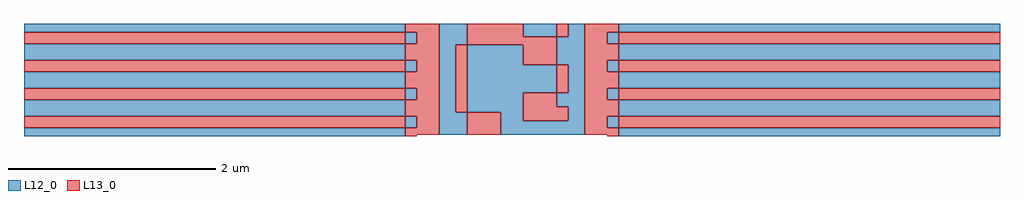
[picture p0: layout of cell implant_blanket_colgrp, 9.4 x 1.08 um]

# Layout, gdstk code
import gdstk
lib = gdstk.Library(unit=1e-6, precision=2.5e-10)
def P(c, l, *ps):  # polygons
    for p in ps: c.add(gdstk.Polygon(p, *l))
L12_0 = (12, 0)
L13_0 = (13, 0)

implant_blanket_colgrp = lib.new_cell('implant_blanket_colgrp')
P(implant_blanket_colgrp, L12_0, [(3.883,0.0135),(3.883,0.8775),(4.045,0.8775),(4.045,0.2285),(4.153,0.2285),(4.153,0.4185),(4.693,0.4185),(4.693,0.1485),(5.125,0.1485),(5.125,0.2835),(5.017,0.2835),(5.017,0.4185),(4.153,0.4185),(4.153,0.8775),(3.883,0.8775),(3.883,1.08),(4.153,1.08),(4.153,0.8775),(4.693,0.8775),(4.693,0.6885),(5.017,0.6885),(5.017,0.4185),(5.125,0.4185),(5.125,0.6885),(5.017,0.6885),(5.017,0.9585),(4.693,0.9585),(4.693,1.08),(5.017,1.08),(5.017,0.9585),(5.125,0.9585),(5.125,1.08),(5.287,1.08),(5.287,0.0135),(4.477,0.0135),(4.477,0.2285),(4.153,0.2285),(4.153,0.0135)],
  [(-0.113,0),(-0.113,0.081),(3.559,0.081),(3.559,0.189),(-0.113,0.189),(-0.113,0.351),(3.559,0.351),(3.559,0.459),(-0.113,0.459),(-0.113,0.621),(3.559,0.621),(3.559,0.729),(-0.113,0.729),(-0.113,0.891),(3.559,0.891),(3.559,0.999),(-0.113,0.999),(-0.113,1.08),(3.559,1.08),(3.559,0.999),(3.667,0.999),(3.667,0.891),(3.559,0.891),(3.559,0.729),(3.667,0.729),(3.667,0.621),(3.559,0.621),(3.559,0.459),(3.667,0.459),(3.667,0.351),(3.559,0.351),(3.559,0.189),(3.667,0.189),(3.667,0.081),(3.559,0.081),(3.559,0)],
  [(5.611,0),(5.611,0.081),(5.503,0.081),(5.503,0.189),(5.611,0.189),(5.611,0.351),(5.503,0.351),(5.503,0.459),(5.611,0.459),(5.611,0.621),(5.503,0.621),(5.503,0.729),(5.611,0.729),(5.611,0.891),(5.503,0.891),(5.503,0.999),(5.611,0.999),(5.611,1.08),(9.283,1.08),(9.283,0.999),(5.611,0.999),(5.611,0.891),(9.283,0.891),(9.283,0.729),(5.611,0.729),(5.611,0.621),(9.283,0.621),(9.283,0.459),(5.611,0.459),(5.611,0.351),(9.283,0.351),(9.283,0.189),(5.611,0.189),(5.611,0.081),(9.283,0.081),(9.283,0)])
P(implant_blanket_colgrp, L13_0, [(4.153,0.0135),(4.153,0.2285),(4.045,0.2285),(4.045,0.8775),(4.153,0.8775),(4.153,1.08),(4.693,1.08),(4.693,0.9585),(5.017,0.9585),(5.017,1.08),(5.125,1.08),(5.125,0.9585),(5.017,0.9585),(5.017,0.6885),(5.125,0.6885),(5.125,0.4185),(5.017,0.4185),(5.017,0.2835),(5.125,0.2835),(5.125,0.1485),(4.693,0.1485),(4.693,0.4185),(5.017,0.4185),(5.017,0.6885),(4.693,0.6885),(4.693,0.8775),(4.153,0.8775),(4.153,0.2285),(4.477,0.2285),(4.477,0.0135)],
  [(3.559,0),(3.559,0.081),(-0.113,0.081),(-0.113,0.189),(3.559,0.189),(3.559,0.081),(3.667,0.081),(3.667,0.189),(3.559,0.189),(3.559,0.351),(-0.113,0.351),(-0.113,0.459),(3.559,0.459),(3.559,0.351),(3.667,0.351),(3.667,0.459),(3.559,0.459),(3.559,0.621),(-0.113,0.621),(-0.113,0.729),(3.559,0.729),(3.559,0.621),(3.667,0.621),(3.667,0.729),(3.559,0.729),(3.559,0.891),(-0.113,0.891),(-0.113,0.999),(3.559,0.999),(3.559,0.891),(3.667,0.891),(3.667,0.999),(3.559,0.999),(3.559,1.08),(3.883,1.08),(3.883,0.0135),(3.667,0.0135),(3.667,0)],
  [(5.503,0),(5.503,0.0135),(5.287,0.0135),(5.287,0.189),(5.503,0.189),(5.503,0.081),(5.611,0.081),(5.611,0.189),(5.287,0.189),(5.287,0.459),(5.503,0.459),(5.503,0.351),(5.611,0.351),(5.611,0.459),(5.287,0.459),(5.287,0.729),(5.503,0.729),(5.503,0.621),(5.611,0.621),(5.611,0.729),(5.287,0.729),(5.287,0.999),(5.503,0.999),(5.503,0.891),(5.611,0.891),(5.611,0.999),(5.287,0.999),(5.287,1.08),(5.611,1.08),(5.611,0.999),(9.283,0.999),(9.283,0.891),(5.611,0.891),(5.611,0.729),(9.283,0.729),(9.283,0.621),(5.611,0.621),(5.611,0.459),(9.283,0.459),(9.283,0.351),(5.611,0.351),(5.611,0.189),(9.283,0.189),(9.283,0.081),(5.611,0.081),(5.611,0)])

lib.write_gds('implant_blanket_colgrp.gds')
